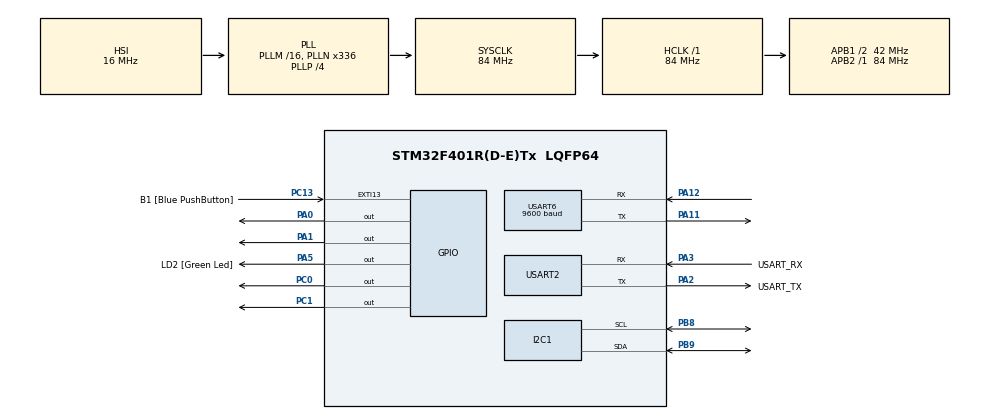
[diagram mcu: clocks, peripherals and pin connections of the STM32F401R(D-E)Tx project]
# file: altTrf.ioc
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Mcu.Family=STM32F4
Mcu.Name=STM32F401R(D-E)Tx
Mcu.Package=LQFP64
NVIC.PriorityGroup=NVIC_PRIORITYGROUP_0
PA0-WKUP.Signal=GPIO_Output
PA1.Signal=GPIO_Output
PA11.Mode=Asynchronous
PA11.Signal=USART6_TX
PA12.Mode=Asynchronous
PA12.Signal=USART6_RX
PA13.GPIO_Label=TMS
PA13.Mode=Serial_Wire
PA13.Signal=SYS_JTMS-SWDIO
PA14.GPIO_Label=TCK
PA14.Mode=Serial_Wire
PA14.Signal=SYS_JTCK-SWCLK
PA2.GPIO_Label=USART_TX
PA2.GPIO_Mode=GPIO_MODE_AF_PP
PA2.GPIO_PuPd=GPIO_NOPULL
PA2.GPIO_Speed=GPIO_SPEED_FREQ_LOW
PA2.Mode=Asynchronous
PA2.Signal=USART2_TX
PA3.GPIO_Label=USART_RX
PA3.GPIO_Mode=GPIO_MODE_AF_PP
PA3.GPIO_PuPd=GPIO_NOPULL
PA3.GPIO_Speed=GPIO_SPEED_FREQ_LOW
PA3.Mode=Asynchronous
PA3.Signal=USART2_RX
PA5.GPIO_Label=LD2 [Green Led]
PA5.GPIO_Mode=GPIO_MODE_OUTPUT_PP
PA5.GPIO_PuPd=GPIO_NOPULL
PA5.GPIO_Speed=GPIO_SPEED_FREQ_LOW
PA5.Signal=GPIO_Output
PB3.Signal=SYS_JTDO-SWO
PB8.Mode=I2C
PB8.Signal=I2C1_SCL
PB9.Mode=I2C
PB9.Signal=I2C1_SDA
PC0.GPIO_ModeDefaultOutputPP=GPIO_MODE_OUTPUT_PP
PC0.GPIO_PuPd=GPIO_NOPULL
PC0.GPIO_Speed=GPIO_SPEED_FREQ_HIGH
PC0.Signal=GPIO_Output
PC1.GPIO_ModeDefaultOutputPP=GPIO_MODE_OUTPUT_PP
PC1.GPIO_PuPd=GPIO_NOPULL
PC1.GPIO_Speed=GPIO_SPEED_FREQ_HIGH
PC1.Signal=GPIO_Output
PC13-ANTI_TAMP.GPIO_Label=B1 [Blue PushButton]
PC13-ANTI_TAMP.GPIO_ModeDefaultEXTI=GPIO_MODE_IT_FALLING
PC13-ANTI_TAMP.GPIO_PuPd=GPIO_NOPULL
PC13-ANTI_TAMP.Signal=GPXTI13
PC14-OSC32_IN.Mode=LSE-External-Oscillator
PC14-OSC32_IN.Signal=RCC_OSC32_IN
PC15-OSC32_OUT.Mode=LSE-External-Oscillator
PC15-OSC32_OUT.Signal=RCC_OSC32_OUT
PH0\ -\ OSC_IN.Mode=HSE-External-Clock-Source
PH0\ -\ OSC_IN.Signal=RCC_OSC_IN
PH1\ -\ OSC_OUT.Mode=HSE-External-Clock-Source
PH1\ -\ OSC_OUT.Signal=RCC_OSC_OUT
ProjectManager.HeapSize=0x200
ProjectManager.StackSize=0x400
ProjectManager.TargetToolchain=STM32CubeIDE
RCC.48MHZClocksFreq_Value=48000000
RCC.AHBFreq_Value=84000000
RCC.APB1CLKDivider=RCC_HCLK_DIV2
RCC.APB1Freq_Value=42000000
RCC.APB1TimFreq_Value=84000000
RCC.APB2Freq_Value=84000000
RCC.APB2TimFreq_Value=84000000
RCC.CortexFreq_Value=84000000
RCC.HCLKFreq_Value=84000000
RCC.HSE_VALUE=8000000
RCC.HSI_VALUE=16000000
RCC.PLLN=336
RCC.PLLP=RCC_PLLP_DIV4
RCC.PLLQ=7
RCC.SYSCLKFreq_VALUE=84000000
RCC.SYSCLKSource=RCC_SYSCLKSOURCE_PLLCLK
RCC.VCOOutputFreq_Value=336000000
TIM3.Prescaler=83
USART2.VirtualMode=VM_ASYNC
USART6.BaudRate=9600
USART6.VirtualMode=VM_ASYNC
VP_TIM3_VS_ClockSourceINT.Mode=Internal
board=NUCLEO-F401RE

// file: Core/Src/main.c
/* USER CODE BEGIN Header */
/**
 ******************************************************************************
 * @file           : main.c
 * @brief          : Main program body
 ******************************************************************************
 * @attention
 *
 * Copyright (c) 2024 STMicroelectronics.
 * All rights reserved.
 *
 * This software is licensed under terms that can be found in the LICENSE file
 * in the root directory of this software component.
 * If no LICENSE file comes with this software, it is provided AS-IS.
 *
 ******************************************************************************
 */
/* USER CODE END Header */
#include "main.h"

/* USER CODE BEGIN Includes */
#include "bme280/bme280.h"
#include "structPackets.h"
/* USER CODE END Includes */

/* USER CODE BEGIN PTD */
#define MPU6050_ADDR 0xD0

#define SMPLRT_DIV_REG 0x19
#define GYRO_CONFIG_REG 0x1B
#define ACCEL_CONFIG_REG 0x1C
#define ACCEL_XOUT_H_REG 0x3B
#define TEMP_OUT_H_REG 0x41
#define GYRO_XOUT_H_REG 0x43
#define PWR_MGMT_1_REG 0x6B
#define WHO_AM_I_REG 0x75
/* USER CODE END PTD */

I2C_HandleTypeDef hi2c1;

TIM_HandleTypeDef htim3;

UART_HandleTypeDef huart2;
UART_HandleTypeDef huart6;

/* USER CODE BEGIN PV */

int16_t Accel_X_RAW, Accel_Y_RAW, Accel_Z_RAW;
int16_t Gyro_X_RAW, Gyro_Y_RAW, Gyro_Z_RAW;
movementPKT movement;
accelPKT accelarationPacket;
/* USER CODE END PV */

void SystemClock_Config(void);
static void MX_GPIO_Init(void);
static void MX_USART2_UART_Init(void);
static void MX_I2C1_Init(void);
static void MX_TIM3_Init(void);
static void MX_USART6_UART_Init(void);
/* USER CODE BEGIN PFP */
float mapValuef(float x, float in_min, float in_max, float out_min,
		float out_max) {
	float res = (x - in_min) * (out_max - out_min) / (in_max - in_min)
			+ out_min;

	if (res < out_min) {
		res = out_min;
	} else if (res > out_max) {
		res = out_max;
	}
	return res;
}
void MPU6050_init(void) {
	uint8_t check, data;
	HAL_I2C_Mem_Read(&hi2c1, MPU6050_ADDR, WHO_AM_I_REG, 1, &check, 1, 1000);
	if (check == 0x68) {
		// Power management register write all 0's to wake up sensor
		data = 0;
		HAL_I2C_Mem_Write(&hi2c1, MPU6050_ADDR, PWR_MGMT_1_REG, 1, &data, 1,
				1000);
		// Set data rate of 1KHz by writing SMPRT_DIV register
		data = 0x07;
		HAL_I2C_Mem_Write(&hi2c1, MPU6050_ADDR, SMPLRT_DIV_REG, 1, &data, 1,
				1000);
		// Writing both register with 0 to set full scale range
		data = 0x00;
		HAL_I2C_Mem_Write(&hi2c1, MPU6050_ADDR, ACCEL_CONFIG_REG, 1, &data, 1,
				1000);

		data = 0x00;
		HAL_I2C_Mem_Write(&hi2c1, MPU6050_ADDR, GYRO_CONFIG_REG, 1, &data, 1,
				1000);
	}
}

// Function with multiple return using pointer

void MPU6050_Read_Accel(float *Ax, float *Ay, float *Az) {
	uint8_t Rec_Data[6];

	HAL_I2C_Mem_Read(&hi2c1, MPU6050_ADDR, ACCEL_XOUT_H_REG, 1, Rec_Data, 6,
			1000);
	// Adding 2 BYTES into 16 bit integer
	Accel_X_RAW = (int16_t) (Rec_Data[0] << 8 | Rec_Data[1]);
	Accel_Y_RAW = (int16_t) (Rec_Data[2] << 8 | Rec_Data[3]);
	Accel_Z_RAW = (int16_t) (Rec_Data[4] << 8 | Rec_Data[5]);

	*Ax = Accel_X_RAW * 100 / 16384.0;
	*Ay = Accel_Y_RAW * 100 / 16384.0;
	*Az = Accel_Z_RAW * 100 / 16384.0;
}
void MPU6050_Read_Gyro(float *Gx, float *Gy, float *Gz) {
	uint8_t Rec_Data[6];
	HAL_I2C_Mem_Read(&hi2c1, MPU6050_ADDR, GYRO_XOUT_H_REG, 1, Rec_Data, 6,
			1000);
	Gyro_X_RAW = (int16_t) (Rec_Data[0] << 8 | Rec_Data[1]);
	Gyro_Y_RAW = (int16_t) (Rec_Data[2] << 8 | Rec_Data[3]);
	Gyro_Z_RAW = (int16_t) (Rec_Data[4] << 8 | Rec_Data[5]);

	*Gx = Gyro_X_RAW / 131.0;
	*Gy = Gyro_Y_RAW / 131.0;
	*Gz = Gyro_Z_RAW / 131.0;
}

/* USER CODE END PFP */

int main(void) {

	/* MCU Configuration--------------------------------------------------------*/

	/* Reset of all peripherals, Initializes the Flash interface and the Systick. */
	HAL_Init();

	/* Configure the system clock */
	SystemClock_Config();

	/* Initialize all configured peripherals */
	MX_GPIO_Init();
	MX_USART2_UART_Init();
	MX_I2C1_Init();
	MX_TIM3_Init();
	MX_USART6_UART_Init();
	/* USER CODE BEGIN 2 */
	uint8_t readbuffer[10] = { 0 };
	uint8_t *CurrentPacketPointer;
	float ivmex, ivmey, ivmez;
	float gyrox, gyroy, gyroz;
	long sensorReadTimer = HAL_GetTick();
	float thp[3] = { 0 };

	MPU6050_init();

	/* USER CODE END 2 */

	/* Infinite loop */
	/* USER CODE BEGIN WHILE */
	while (1) {
		if (HAL_GetTick() - sensorReadTimer > 100) {

			MPU6050_Read_Accel(&ivmex, &ivmey, &ivmez);
			MPU6050_Read_Gyro(&gyrox, &gyroy, &gyroz);

			// sprintf(uartData, "#%.3f:%.3f:%.3f\n", ivmex, ivmey, ivmez);
			// HAL_UART_Transmit(&huart2, (uint8_t *)uartData,
			//				  strlen(uartData), 1000);
			sensorReadTimer = HAL_GetTick();
			CurrentPacketPointer = CreateAccellerationPacketToByteArray(ivmex,
					ivmey, ivmez);

			HAL_UART_Transmit(&huart6, CurrentPacketPointer + 2,
					accelPktDefault.paket.paketLen, 100);
		}
		HAL_UART_Receive(&huart6, readbuffer, movementPktDefault.paket.paketLen,
				400);
		GetMovementPacket(&movement, readbuffer);
		if (movement.data.rotation == 1) {
			HAL_GPIO_WritePin(GPIOC, GPIO_PIN_0, GPIO_PIN_RESET);
			HAL_GPIO_WritePin(GPIOC, GPIO_PIN_1, GPIO_PIN_SET);
		} else if (movement.data.rotation == 2) {
			HAL_GPIO_WritePin(GPIOC, GPIO_PIN_0, GPIO_PIN_SET);
			HAL_GPIO_WritePin(GPIOC, GPIO_PIN_1, GPIO_PIN_RESET);
		} else {
			HAL_GPIO_WritePin(GPIOC, GPIO_PIN_0, GPIO_PIN_RESET);
			HAL_GPIO_WritePin(GPIOC, GPIO_PIN_1, GPIO_PIN_RESET);
		}

		if (movement.data.direction == 1) {
			HAL_GPIO_WritePin(GPIOA, GPIO_PIN_0, GPIO_PIN_RESET);
			HAL_GPIO_WritePin(GPIOA, GPIO_PIN_1, GPIO_PIN_SET);
		} else if (movement.data.direction == 2) {
			HAL_GPIO_WritePin(GPIOA, GPIO_PIN_0, GPIO_PIN_SET);
			HAL_GPIO_WritePin(GPIOA, GPIO_PIN_1, GPIO_PIN_RESET);
		} else {
			HAL_GPIO_WritePin(GPIOA, GPIO_PIN_0, GPIO_PIN_RESET);
			HAL_GPIO_WritePin(GPIOA, GPIO_PIN_1, GPIO_PIN_RESET);
		}

		/* USER CODE END WHILE */

	}
}

void SystemClock_Config(void) {
	RCC_OscInitTypeDef RCC_OscInitStruct = { 0 };
	RCC_ClkInitTypeDef RCC_ClkInitStruct = { 0 };

	/** Configure the main internal regulator output voltage
	 */
	__HAL_RCC_PWR_CLK_ENABLE();
	__HAL_PWR_VOLTAGESCALING_CONFIG(PWR_REGULATOR_VOLTAGE_SCALE2);

	/** Initializes the RCC Oscillators according to the specified parameters
	 * in the RCC_OscInitTypeDef structure.
	 */
	RCC_OscInitStruct.OscillatorType = RCC_OSCILLATORTYPE_HSI;
	RCC_OscInitStruct.HSIState = RCC_HSI_ON;
	RCC_OscInitStruct.HSICalibrationValue = RCC_HSICALIBRATION_DEFAULT;
	RCC_OscInitStruct.PLL.PLLState = RCC_PLL_ON;
	RCC_OscInitStruct.PLL.PLLSource = RCC_PLLSOURCE_HSI;
	RCC_OscInitStruct.PLL.PLLM = 16;
	RCC_OscInitStruct.PLL.PLLN = 336;
	RCC_OscInitStruct.PLL.PLLP = RCC_PLLP_DIV4;
	RCC_OscInitStruct.PLL.PLLQ = 7;
	if (HAL_RCC_OscConfig(&RCC_OscInitStruct) != HAL_OK) {
		Error_Handler();
	}

	/** Initializes the CPU, AHB and APB buses clocks
	 */
	RCC_ClkInitStruct.ClockType = RCC_CLOCKTYPE_HCLK | RCC_CLOCKTYPE_SYSCLK
			| RCC_CLOCKTYPE_PCLK1 | RCC_CLOCKTYPE_PCLK2;
	RCC_ClkInitStruct.SYSCLKSource = RCC_SYSCLKSOURCE_PLLCLK;
	RCC_ClkInitStruct.AHBCLKDivider = RCC_SYSCLK_DIV1;
	RCC_ClkInitStruct.APB1CLKDivider = RCC_HCLK_DIV2;
	RCC_ClkInitStruct.APB2CLKDivider = RCC_HCLK_DIV1;

	if (HAL_RCC_ClockConfig(&RCC_ClkInitStruct, FLASH_LATENCY_2) != HAL_OK) {
		Error_Handler();
	}
}

static void MX_I2C1_Init(void) {

	hi2c1.Instance = I2C1;
	hi2c1.Init.ClockSpeed = 100000;
	hi2c1.Init.DutyCycle = I2C_DUTYCYCLE_2;
	hi2c1.Init.OwnAddress1 = 0;
	hi2c1.Init.AddressingMode = I2C_ADDRESSINGMODE_7BIT;
	hi2c1.Init.DualAddressMode = I2C_DUALADDRESS_DISABLE;
	hi2c1.Init.OwnAddress2 = 0;
	hi2c1.Init.GeneralCallMode = I2C_GENERALCALL_DISABLE;
	hi2c1.Init.NoStretchMode = I2C_NOSTRETCH_DISABLE;
	if (HAL_I2C_Init(&hi2c1) != HAL_OK) {
		Error_Handler();
	}

}

static void MX_TIM3_Init(void) {

	TIM_ClockConfigTypeDef sClockSourceConfig = { 0 };
	TIM_MasterConfigTypeDef sMasterConfig = { 0 };

	htim3.Instance = TIM3;
	htim3.Init.Prescaler = 83;
	htim3.Init.CounterMode = TIM_COUNTERMODE_UP;
	htim3.Init.Period = 65535;
	htim3.Init.ClockDivision = TIM_CLOCKDIVISION_DIV1;
	htim3.Init.AutoReloadPreload = TIM_AUTORELOAD_PRELOAD_DISABLE;
	if (HAL_TIM_Base_Init(&htim3) != HAL_OK) {
		Error_Handler();
	}
	sClockSourceConfig.ClockSource = TIM_CLOCKSOURCE_INTERNAL;
	if (HAL_TIM_ConfigClockSource(&htim3, &sClockSourceConfig) != HAL_OK) {
		Error_Handler();
	}
	sMasterConfig.MasterOutputTrigger = TIM_TRGO_RESET;
	sMasterConfig.MasterSlaveMode = TIM_MASTERSLAVEMODE_DISABLE;
	if (HAL_TIMEx_MasterConfigSynchronization(&htim3, &sMasterConfig)
			!= HAL_OK) {
		Error_Handler();
	}

}

static void MX_USART2_UART_Init(void) {

	huart2.Instance = USART2;
	huart2.Init.BaudRate = 115200;
	huart2.Init.WordLength = UART_WORDLENGTH_8B;
	huart2.Init.StopBits = UART_STOPBITS_1;
	huart2.Init.Parity = UART_PARITY_NONE;
	huart2.Init.Mode = UART_MODE_TX_RX;
	huart2.Init.HwFlowCtl = UART_HWCONTROL_NONE;
	huart2.Init.OverSampling = UART_OVERSAMPLING_16;
	if (HAL_UART_Init(&huart2) != HAL_OK) {
		Error_Handler();
	}

}

static void MX_USART6_UART_Init(void) {

	huart6.Instance = USART6;
	huart6.Init.BaudRate = 9600;
	huart6.Init.WordLength = UART_WORDLENGTH_8B;
	huart6.Init.StopBits = UART_STOPBITS_1;
	huart6.Init.Parity = UART_PARITY_NONE;
	huart6.Init.Mode = UART_MODE_TX_RX;
	huart6.Init.HwFlowCtl = UART_HWCONTROL_NONE;
	huart6.Init.OverSampling = UART_OVERSAMPLING_16;
	if (HAL_UART_Init(&huart6) != HAL_OK) {
		Error_Handler();
	}

}

static void MX_GPIO_Init(void) {
	GPIO_InitTypeDef GPIO_InitStruct = { 0 };

	/* GPIO Ports Clock Enable */
	__HAL_RCC_GPIOC_CLK_ENABLE();
	__HAL_RCC_GPIOH_CLK_ENABLE();
	__HAL_RCC_GPIOA_CLK_ENABLE();
	__HAL_RCC_GPIOB_CLK_ENABLE();

	/*Configure GPIO pin Output Level */
	HAL_GPIO_WritePin(GPIOC, GPIO_PIN_0 | GPIO_PIN_1, GPIO_PIN_RESET);

	/*Configure GPIO pin Output Level */
	HAL_GPIO_WritePin(GPIOA, GPIO_PIN_0 | GPIO_PIN_1 | LD2_Pin, GPIO_PIN_RESET);

	/*Configure GPIO pin : B1_Pin */
	GPIO_InitStruct.Pin = B1_Pin;
	GPIO_InitStruct.Mode = GPIO_MODE_IT_FALLING;
	GPIO_InitStruct.Pull = GPIO_NOPULL;
	HAL_GPIO_Init(B1_GPIO_Port, &GPIO_InitStruct);

	/*Configure GPIO pins : PC0 PC1 */
	GPIO_InitStruct.Pin = GPIO_PIN_0 | GPIO_PIN_1;
	GPIO_InitStruct.Mode = GPIO_MODE_OUTPUT_PP;
	GPIO_InitStruct.Pull = GPIO_NOPULL;
	GPIO_InitStruct.Speed = GPIO_SPEED_FREQ_HIGH;
	HAL_GPIO_Init(GPIOC, &GPIO_InitStruct);

	/*Configure GPIO pins : PA0 PA1 LD2_Pin */
	GPIO_InitStruct.Pin = GPIO_PIN_0 | GPIO_PIN_1 | LD2_Pin;
	GPIO_InitStruct.Mode = GPIO_MODE_OUTPUT_PP;
	GPIO_InitStruct.Pull = GPIO_NOPULL;
	GPIO_InitStruct.Speed = GPIO_SPEED_FREQ_LOW;
	HAL_GPIO_Init(GPIOA, &GPIO_InitStruct);

}

void Error_Handler(void) {
	__disable_irq();
	while (1) {
	}
}
